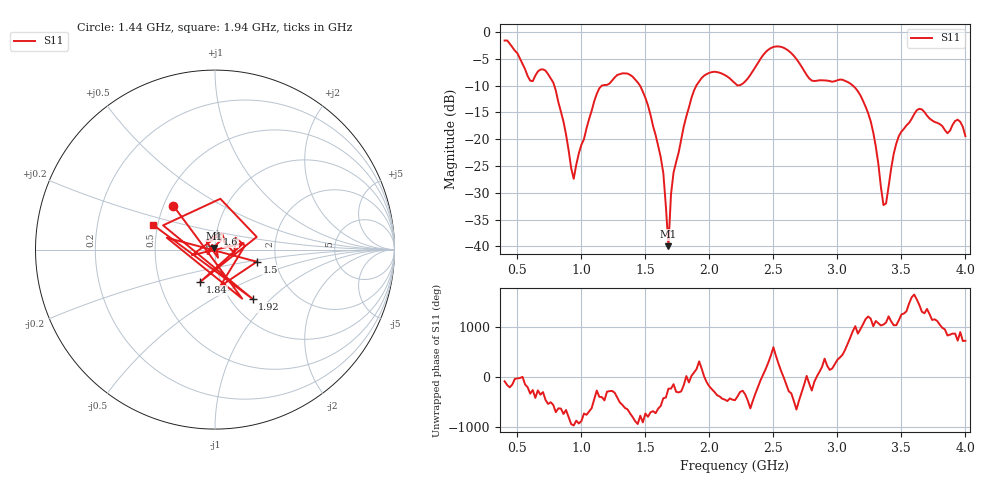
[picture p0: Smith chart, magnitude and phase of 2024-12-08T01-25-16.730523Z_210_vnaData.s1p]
!Created with skrf (http://scikit-rf.org).
# Hz S RI R 50.0
!freq ReS11 ImS11
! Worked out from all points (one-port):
!   181 points, 400 MHz to 4 GHz, reference 50 ohm
!   lowest |S11| = -40.0 dB at 1.68 GHz (marker M1), VSWR 1.02, Z = 49.5 + j0.853 ohm
!   |S11| at or under -10 dB: 787.6 MHz to 1.161 GHz (373.5 MHz wide, 38.3 % of centre); 1.457 GHz to 1.898 GHz (441.1 MHz wide, 26.3 % of centre); 3.12 GHz to end of sweep
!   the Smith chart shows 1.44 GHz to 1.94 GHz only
!   S11 on the Smith chart (normalised r, x): 1.44 GHz: 0.56, +0.31; 1.5 GHz: 1.59, -0.23; 1.6 GHz: 1.01, +0.17; 1.84 GHz: 0.80, -0.30; 1.92 GHz: 1.26, -0.78; 1.94 GHz: 0.47, +0.15
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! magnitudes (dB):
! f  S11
! 400 MHz  -1.6
! 600 MHz  -9.1
! 720 MHz  -7.2
! 860 MHz  -16.7
! 940 MHz  -27.4
! 1.12 GHz  -11.6
! 1.3 GHz  -7.9
! 1.44 GHz  -9.4
! 1.5 GHz  -12.3
! 1.6 GHz  -21.3
! 1.64 GHz  -26.3
! 1.68 GHz  -40.0
! 1.7 GHz  -30.3
! 1.76 GHz  -22.5
! 1.84 GHz  -14.1
! 1.92 GHz  -9.2
! 1.94 GHz  -8.6
! 2.2 GHz  -9.6
! 2.48 GHz  -3.0
! 2.66 GHz  -4.5
! 2.8 GHz  -9.1
! 3.1 GHz  -9.6
! 3.26 GHz  -16.6
! 3.36 GHz  -32.3
! 3.46 GHz  -20.8
! 3.56 GHz  -17.0
! 3.66 GHz  -14.5
! 4 GHz  -19.4
